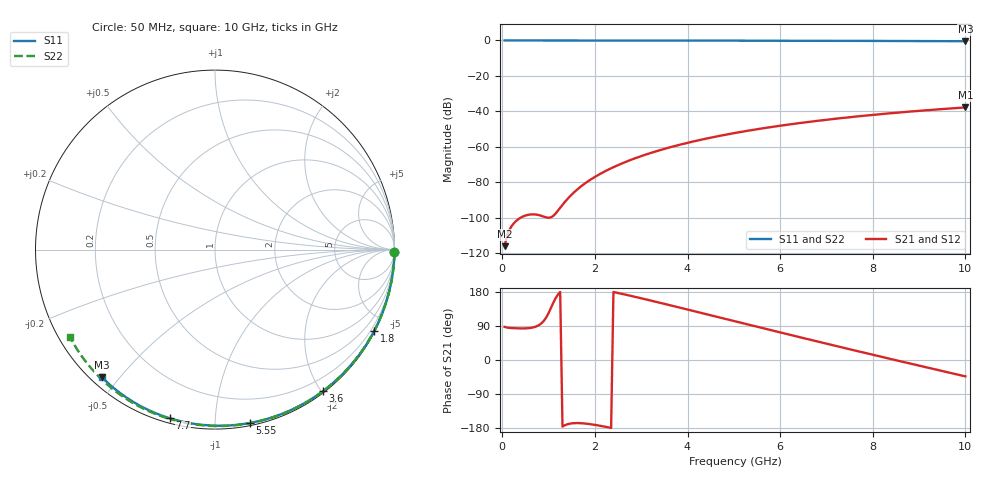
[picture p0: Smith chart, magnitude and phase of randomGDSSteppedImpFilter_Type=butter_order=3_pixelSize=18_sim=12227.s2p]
! freq	dB(S11)	phase(S11)	dB(S12)	phase(S12)
!  dB(S21)	phase(S21)	dB(S22)	phase(S22)
!S-par simulation data
#  GHz  S  DB  R 50
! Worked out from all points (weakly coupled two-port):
!   200 points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, 50 MHz to 10 GHz, reference 50 ohm
!   highest |S21| = -37.81 dB at 10 GHz (marker M1); lowest = -116.1 dB at 50 MHz (marker M2)
!   lowest |S11| = -0.4 dB at 10 GHz (marker M3), VSWR 39.12, Z = 1.54 - j22.6 ohm
!   |S11| at or under -10 dB: nowhere
!   |S22| runs from -0.5 to 0.0 dB; largest |S21 - S12| = 0
!   S11 on the Smith chart (normalised r, x): 50 MHz: open; 1.8 GHz: 0.04, -4.18; 3.6 GHz: 0.02, -2.02; 5.55 GHz: 0.02, -1.22; 7.7 GHz: 0.02, -0.77; 10 GHz: 0.03, -0.45
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0.05  -0.00 -0.8  -116.13 87.4  -116.13 87.4  -0.00 -0.9
0.45  -0.01 -6.8  -99.33 83.3  -99.33 83.3  -0.01 -7.7
0.9  -0.02 -13.6  -99.49 103.8  -99.49 103.8  -0.02 -15.4
1.3  -0.02 -19.6  -92.79 -175.6  -92.79 -175.6  -0.03 -22.1
1.75  -0.03 -26.2  -81.38 -167.2  -81.38 -167.2  -0.04 -29.6
1.8  -0.03 -26.9  -80.43 -167.8  -80.43 -167.8  -0.04 -30.4
1.85  -0.04 -27.7  -79.52 -168.5  -79.52 -168.5  -0.04 -31.2
2.05  -0.04 -30.6  -76.25 -172.2  -76.25 -172.2  -0.04 -34.5
2.2  -0.04 -32.8  -74.10 -175.6  -74.10 -175.6  -0.05 -37.0
2.55  -0.05 -37.8  -69.79 175.5  -69.79 175.5  -0.05 -42.7
2.95  -0.06 -43.5  -65.74 164.3  -65.74 164.3  -0.06 -49.1
3.4  -0.07 -49.9  -61.95 151.2  -61.95 151.2  -0.07 -56.2
3.6  -0.07 -52.7  -60.47 145.2  -60.47 145.2  -0.08 -59.3
4.3  -0.09 -62.2  -55.99 124.1  -55.99 124.1  -0.10 -70.0
5.05  -0.11 -72.2  -52.10 101.4  -52.10 101.4  -0.13 -81.2
5.55  -0.13 -78.7  -49.90 86.3  -49.90 86.3  -0.15 -88.4
6.1  -0.15 -85.6  -47.76 69.8  -47.76 69.8  -0.17 -96.2
6.7  -0.18 -93.0  -45.71 52.0  -45.71 52.0  -0.20 -104.5
7.7  -0.24 -105.0  -42.79 22.6  -42.79 22.6  -0.27 -118.1
8.35  -0.29 -112.6  -41.17 3.7  -41.17 3.7  -0.33 -126.8
9.2  -0.36 -122.4  -39.32 -20.6  -39.32 -20.6  -0.41 -138.1
10  -0.44 -131.4  -37.81 -43.2  -37.81 -43.2  -0.50 -148.9
